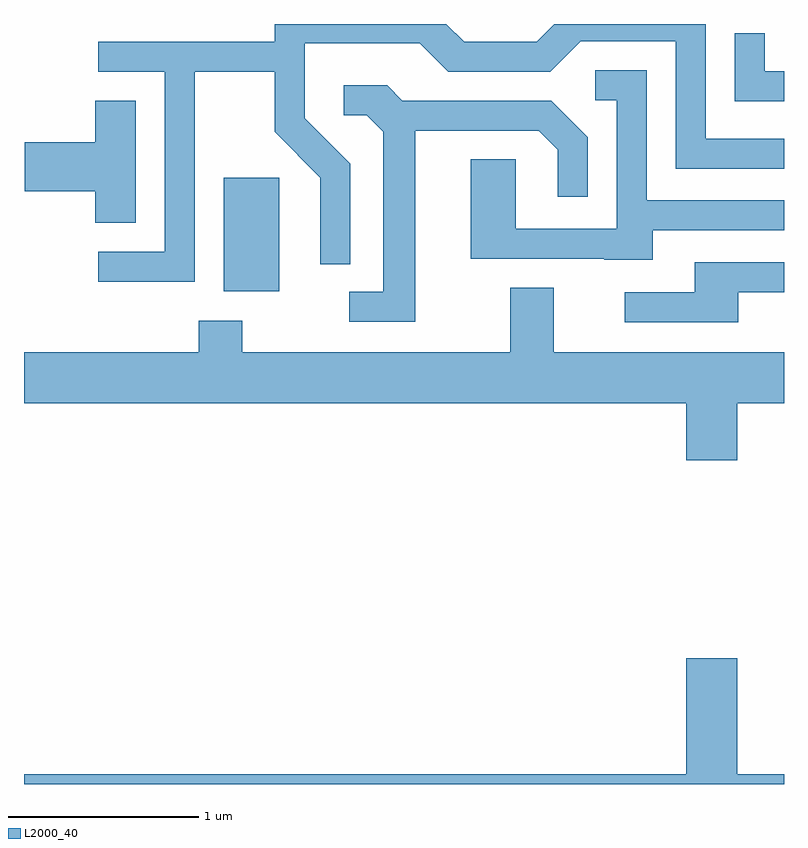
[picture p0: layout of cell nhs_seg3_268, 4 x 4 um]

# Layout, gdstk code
import gdstk
lib = gdstk.Library(unit=1e-6, precision=1e-09)
def R(c, l, rs):  # rectangles x0, y0, x1, y1
    for r in rs: c.add(gdstk.rectangle(r[:2], r[2:], *l))
def P(c, l, *ps):  # polygons
    for p in ps: c.add(gdstk.Polygon(p, *l))
L2000_40 = (2000, 40)

nhs_seg3_268 = lib.new_cell('nhs_seg3_268')
R(nhs_seg3_268, L2000_40, [(192.661,1246.486,192.954,1247.084)])
P(nhs_seg3_268, L2000_40, [(192.509,1247.641),(192.931,1247.641),(192.931,1247.324),(193.171,1247.084),(193.171,1246.628),(193.329,1246.628),(193.329,1247.157),(193.089,1247.397),(193.089,1247.791),(193.694,1247.791),(193.844,1247.641),(194.382,1247.641),(194.542,1247.801),(195.041,1247.801),(195.041,1247.131),(195.611,1247.131),(195.611,1247.289),(195.199,1247.289),(195.199,1247.892),(194.402,1247.892),(194.309,1247.799),(193.927,1247.799),(193.834,1247.892),(192.931,1247.892),(192.931,1247.799),(192.003,1247.799),(192.003,1247.641),(192.351,1247.641),(192.351,1246.694),(192.003,1246.694),(192.003,1246.536),(192.509,1246.536)],
  [(195.611,1247.644),(195.509,1247.644),(195.509,1247.843),(195.351,1247.843),(195.351,1247.486),(195.611,1247.486)],
  [(194.919,1246.806),(195.611,1246.806),(195.611,1246.964),(194.889,1246.964),(194.889,1247.649),(194.618,1247.649),(194.618,1247.491),(194.731,1247.491),(194.731,1246.814),(194.199,1246.814),(194.199,1247.179),(193.961,1247.179),(193.961,1246.656),(194.665,1246.656),(194.665,1246.651),(194.919,1246.651)],
  [(193.669,1247.331),(194.319,1247.331),(194.421,1247.229),(194.421,1246.983),(194.579,1246.983),(194.579,1247.297),(194.387,1247.489),(193.602,1247.489),(193.522,1247.569),(193.293,1247.569),(193.293,1247.411),(193.414,1247.411),(193.501,1247.324),(193.501,1246.484),(193.323,1246.484),(193.323,1246.326),(193.669,1246.326)],
  [(192.199,1247.489),(191.986,1247.489),(191.986,1247.269),(191.616,1247.269),(191.616,1247.011),(191.986,1247.011),(191.986,1246.846),(192.199,1246.846)],
  [(195.369,1246.481),(195.611,1246.481),(195.611,1246.639),(195.141,1246.639),(195.141,1246.479),(194.773,1246.479),(194.773,1246.321),(195.369,1246.321)],
  [(195.364,1245.896),(195.611,1245.896),(195.611,1246.164),(194.399,1246.164),(194.399,1246.504),(194.171,1246.504),(194.171,1246.164),(192.759,1246.164),(192.759,1246.329),(192.531,1246.329),(192.531,1246.164),(191.611,1246.164),(191.611,1245.896),(195.096,1245.896),(195.096,1245.596),(195.364,1245.596)],
  [(195.611,1243.944),(195.364,1243.944),(195.364,1244.554),(195.096,1244.554),(195.096,1243.944),(191.611,1243.944),(191.611,1243.892),(195.611,1243.892)])

lib.write_gds('nhs_seg3_268.gds')
